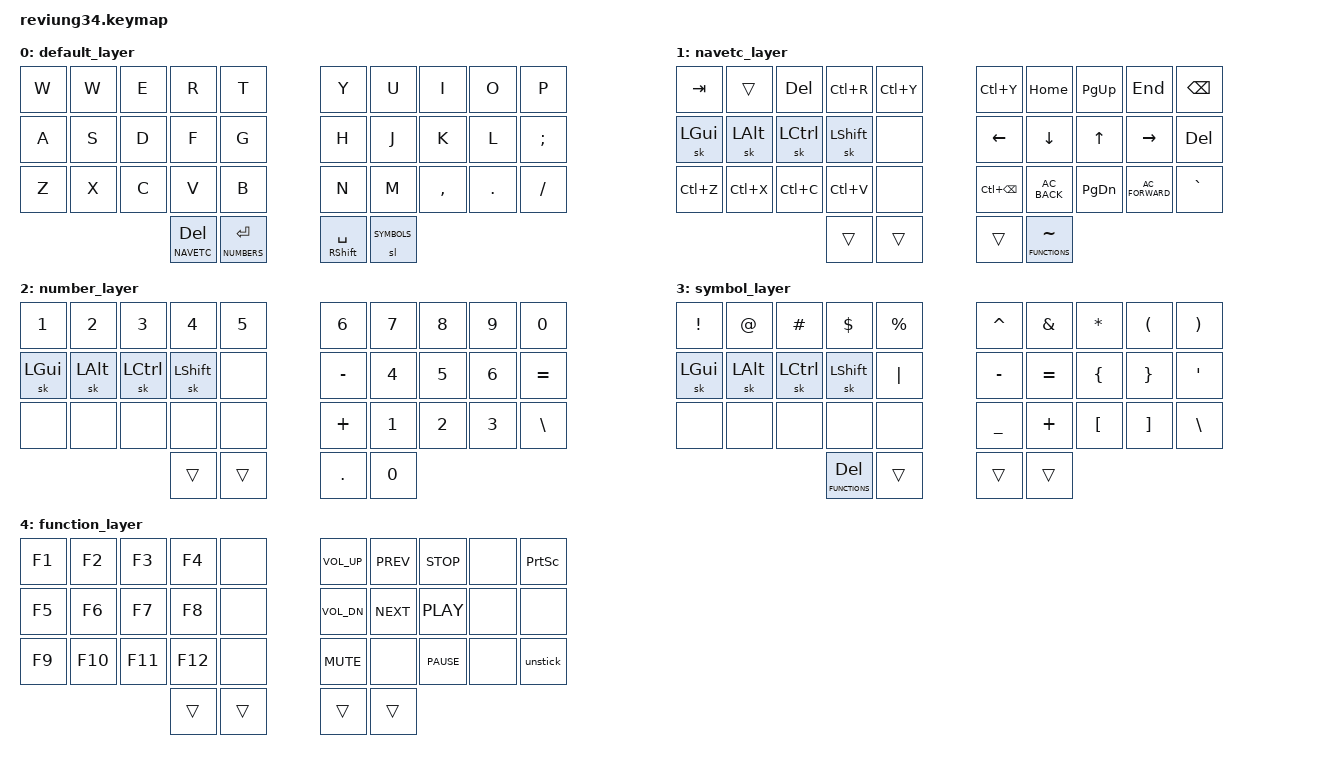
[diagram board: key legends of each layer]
/*
 * Copyright (c) 2020 The ZMK Contributors
 *
 * SPDX-License-Identifier: MIT
 */

#include <behaviors.dtsi>
#include <dt-bindings/zmk/keys.h>
#include <dt-bindings/zmk/outputs.h>

#define DEFAULT 0
#define NAVETC 1
#define NUMBERS 2
#define SYMBOLS 3
#define FUNCTIONS 4

/ {
    chosen {
        // 34 keys.
        zmk,matrix-transform = &dual_1u_transform;

        // 33 keys. Center two thumb keys replaced by a single 2u key. Remember to adjust your
        // keymap accordingly!
        // zmk,matrix-transform = &single_2u_transform;
    };
};

&mt {
        flavor = "tap-preferred";
        tapping_term_ms = <150>;
};

&sk {
        ignore-modifiers;
};

&caps_word {
        continue-list = <UNDERSCORE MINUS BSPC>;
};

/ {
        macros {
                // sometimes my device thinks a modifier is being held down
                // pressing all modifiers fixes it.
                unstick: unstick {
                        label = "ZM_unstick";
                        compatible = "zmk,behavior-macro";
                        #binding-cells = <0>;
                        bindings
                                = <&kp LSHIFT &kp RSHIFT &kp LCTRL &kp RCTRL &kp LALT &kp RALT &kp LGUI &kp RGUI>;
                };
        };

        combos {
               compatible = "zmk,combos";
               combo_tab {
                        timeout-ms = <50>;
                        key-positions = <0 1>;
                        bindings = <&kp TAB>;
               };
               combo_esc {
                        timeout-ms = <50>;
                        key-positions = <16 17>;
                        bindings = <&gresc>;
               };
                combo_caps {
                        timeout-ms = <50>;
                        key-positions = <31 32>;
                        bindings = <&caps_word>;
               };
               combo_bksp {
                        timeout-ms = <50>;
                        key-positions = <17 18>;
                        bindings = <&kp BSPC>;
               };
               combo_double_quote {
                       timeout-ms = <50>;
                       key-positions = <18 19>;
                       bindings = <&kp DQT>;
               };
               combo_single_quote {
                        timeout-ms = <50>;
                        key-positions = <28 29>;
                        bindings = <&kp SQT>;
               };
        };
};

/ {
        keymap {
                compatible = "zmk,keymap";

                default_layer {
// ---------------------------------------------------------------------------------------------------
// |    q    |    w    |    e     |    r    |  t  |   |  y  |    u    |    i     |    o    |    p    |
// |    a    |    s    |    d     |    f    |  g  |   |  h  |    j    |    k     |   l     |    ;    |
// |    z    |    x    |    c     |    v    |  b  |   |  n  |    m    |    ,     |    .    |    /    |
//                         | NAV - DEL | NUM - ENT | RSFT - SPACE | SYM |
                        bindings = <
        &kp W   &kp W   &kp E   &kp R   &kp T   &kp Y   &kp U   &kp I      &kp O      &kp P
        &kp A   &kp S   &kp D   &kp F   &kp G   &kp H   &kp J   &kp K      &kp L      &kp SEMI
        &kp Z   &kp X   &kp C   &kp V   &kp B   &kp N   &kp M   &kp COMMA  &kp PERIOD &kp FSLH
                        &lt NAVETC DEL   &lt NUMBERS ENTER &mt RSHFT SPACE    &sl SYMBOLS
                        >;
                };

                navetc_layer {
// -------------------------------------------------------------------------
// | tab  |      |  del  | c-r   | c-y   |   |    |          | home | pgup | end  |  BSPC  |
// | lgui | lalt | lctrl | lsft  |       |   |    |   left   | down |  up  | rght |  DEL   |
// | c-z  | c-x  | c-c   | c-v   |       |   |    | LC(BSPC) | prev | pgdn | next |   `    |
//                       | trans | trans |   | trans |   FN   |
                        bindings = <
        &kp TAB   &trans    &kp DEL   &kp LC(R) &kp LC(Y)   &kp LC(Y)    &kp HOME      &kp PG_UP &kp END          &kp BSPC
        &sk LGUI  &sk LALT  &sk LCTRL &sk LSHFT &none       &kp LEFT     &kp DOWN      &kp UP    &kp RIGHT        &kp DEL
        &kp LC(Z) &kp LC(X) &kp LC(C) &kp LC(V) &none       &kp LC(BSPC) &kp C_AC_BACK &kp PG_DN &kp C_AC_FORWARD &kp GRAVE
                                      &trans    &trans      &trans       &lt FUNCTIONS TILDE
                        >;

                };
                
                number_layer {
// ---------------------------------------------------------------------------
// |   1  |   2  |   3   |   4   |   5   |   |  6  |  7  |  8  |  9  |   0   |
// | lctl | lalt | lctrl | lsft  |       |   |  -  |  4  |  5  |  6  |   =   |
// |      |      |       |       |       |   |  +  |  1  |  2  |  3  |   \   |
//                       | trans | trans |   |  0  |  .  |
                        bindings = <
        &kp N1    &kp N2   &kp N3     &kp N4    &kp N5  &kp N6     &kp N7 &kp N8 &kp N9 &kp N0
        &sk LGUI  &sk LALT  &sk LCTRL &sk LSHFT &none   &kp MINUS  &kp N4 &kp N5 &kp N6 &kp EQUAL
        &none     &none    &none      &none     &none   &kp PLUS   &kp N1 &kp N2 &kp N3 &kp BSLH
                                      &trans   &trans    &kp DOT &kp N0
                        >;
                };                

                symbol_layer {
// -------------------------------------------------------------------------
// |   !  |   @  |   #   |   $   |   %   |   |  ^  |  &  |  *  |  (  |  )  |
// | lctl | lalt | lctrl | lsft  |   |   |   |  -  |  =  |  {  |  }  |  '  |
// |      |      |       |       |       |   |  +  |  _  |  [  |  ]  |  \  |
//                       | trans | trans |   |  trans  |  ~ |

                        bindings = <
        &kp EXCL  &kp AT    &kp HASH  &kp DLLR  &kp PRCNT  &kp CARET  &kp AMPS  &kp ASTRK  &kp LPAR  &kp RPAR
        &sk LGUI  &sk LALT  &sk LCTRL &sk LSHFT &kp PIPE   &kp MINUS  &kp EQUAL &kp LBRC   &kp RBRC  &kp SQT
        &none     &none     &none     &none     &none      &kp UNDER  &kp PLUS  &kp LBKT   &kp RBKT  &kp BSLH
                           &lt FUNCTIONS DEL   &trans           &trans  &trans

                        >;
                };

                function_layer {
// -------------------------------------------------------------------------
// |      |  F1  |  F2  |  F3  |  F4  |   | vol up | prev | stop  |     |  printscreen  |
// |      |  Ft  |  F6  |  F7  |  F8  |   | vol dn | next | play  |     |               |
// |      |  F9  |  F10 |  F11 |  F13 |   | mute   |      | pause |     |    unstick    |
//                    |  bspc | trans |   | trans  | trans |
                        bindings = <
        &kp F1 &kp F2  &kp F3  &kp F4  &none   &kp C_VOL_UP &kp C_PREV &kp C_STOP  &none &kp PSCRN
        &kp F5 &kp F6  &kp F7  &kp F8  &none   &kp C_VOL_DN &kp C_NEXT &kp C_PLAY  &none &none
        &kp F9 &kp F10 &kp F11 &kp F12 &none   &kp C_MUTE   &none      &kp C_PAUSE &none &unstick
                              &trans  &trans   &trans  &trans
                        >;

                };
        };
};
